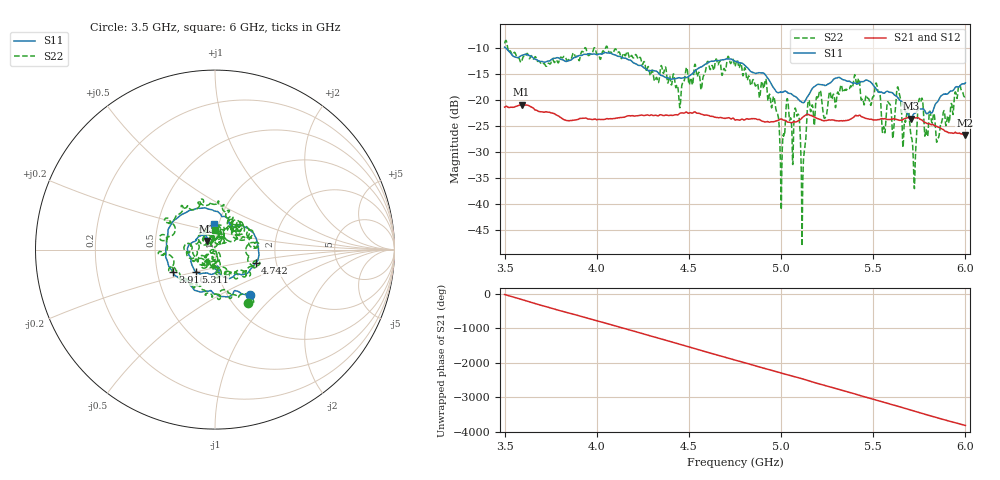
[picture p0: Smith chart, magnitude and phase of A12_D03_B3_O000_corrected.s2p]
! Created with skrf 1.9.0 (http://scikit-rf.org).
# Hz S RI R 50.0
!freq ReS11 ImS11 ReS21 ImS21 ReS12 ImS12 ReS22 ImS22
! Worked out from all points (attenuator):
!   1601 points, 3.5 GHz to 6 GHz, reference 50 ohm
!   highest |S21| = -20.98 dB at 3.592 GHz (marker M1); lowest = -26.8 dB at 5.997 GHz (marker M2)
!   lowest |S11| = -23.7 dB at 5.703 GHz (marker M3), VSWR 1.14, Z = 45.5 + j4.35 ohm
!   |S11| at or under -10 dB: 3.505 GHz to end of sweep
!   |S22| runs from -48.2 to -8.6 dB; largest |S21 - S12| = 0.0011
!   S11 on the Smith chart (normalised r, x): 3.5 GHz: 1.26, -0.71; 3.916 GHz: 0.60, -0.16; 4.742 GHz: 1.56, -0.24; 5.311 GHz: 0.78, -0.20; 6 GHz: 0.95, +0.28
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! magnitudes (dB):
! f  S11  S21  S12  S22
! 3.5 GHz  -9.9  -21.4  -21.4  -9.2
! 3.592 GHz  -11.5  -21.0  -21.0  -12.7
! 3.916 GHz  -11.5  -23.6  -23.6  -11.0
! 3.917 GHz  -11.5  -23.6  -23.6  -10.8
! 4.334 GHz  -14.9  -23.1  -23.0  -16.7
! 4.742 GHz  -12.5  -23.6  -23.6  -12.5
! 4.75 GHz  -12.6  -23.9  -23.8  -13.6
! 4.966 GHz  -18.0  -24.2  -24.2  -20.3
! 5.005 GHz  -18.5  -23.7  -23.8  -31.7
! 5.033 GHz  -18.5  -24.3  -24.2  -19.8
! 5.086 GHz  -19.6  -24.2  -24.2  -23.1
! 5.119 GHz  -20.6  -23.3  -23.3  -34.3
! 5.145 GHz  -19.3  -22.8  -22.8  -20.7
! 5.167 GHz  -18.0  -23.1  -23.1  -21.2
! 5.311 GHz  -15.7  -24.1  -24.1  -18.8
! 5.584 GHz  -18.5  -23.8  -23.8  -20.6
! 5.703 GHz  -23.7  -23.5  -23.5  -26.4
! 5.722 GHz  -22.6  -23.5  -23.4  -36.6
! 5.756 GHz  -21.8  -23.8  -23.7  -20.3
! 5.85 GHz  -20.4  -25.3  -25.2  -27.5
! 5.997 GHz  -16.9  -26.8  -26.7  -19.4
! 6 GHz  -16.8  -26.8  -26.7  -19.3
